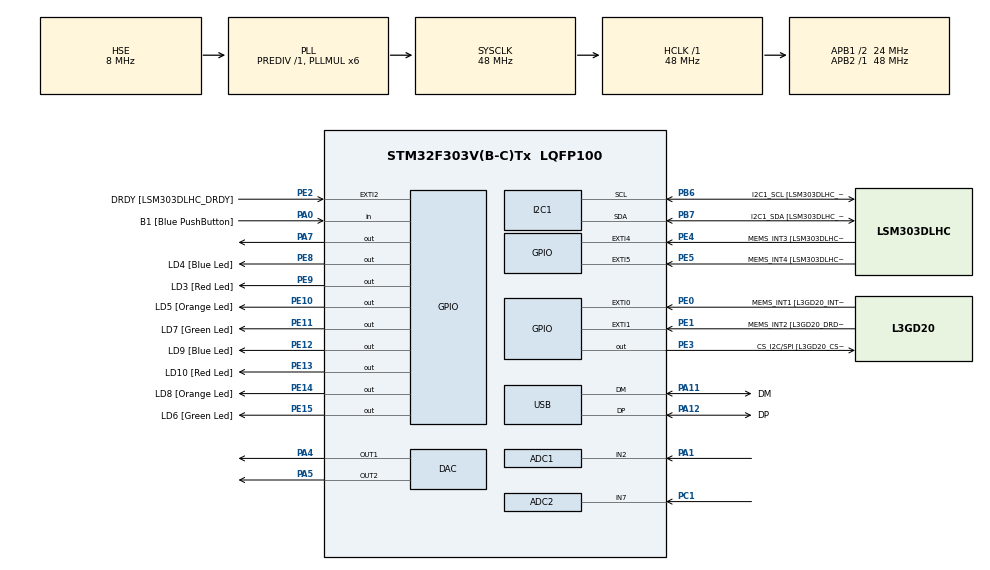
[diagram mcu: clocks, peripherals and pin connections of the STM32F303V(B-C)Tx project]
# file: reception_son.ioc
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ADC1.Channel-0\#ChannelRegularConversion=ADC_CHANNEL_2
ADC1.ClockPrescaler=ADC_CLOCK_ASYNC_DIV1
ADC1.ContinuousConvMode=ENABLE
ADC1.NbrOfConversionFlag=1
ADC1.Offset-0\#ChannelRegularConversion=0
ADC1.OffsetNumber-0\#ChannelRegularConversion=ADC_OFFSET_NONE
ADC1.Rank-0\#ChannelRegularConversion=1
ADC1.SamplingTime-0\#ChannelRegularConversion=ADC_SAMPLETIME_601CYCLES_5
ADC1.master=1
ADC2.Channel-0\#ChannelRegularConversion=ADC_CHANNEL_7
ADC2.ContinuousConvMode=DISABLE
ADC2.NbrOfConversionFlag=1
ADC2.Offset-0\#ChannelRegularConversion=0
ADC2.OffsetNumber-0\#ChannelRegularConversion=ADC_OFFSET_NONE
ADC2.Rank-0\#ChannelRegularConversion=1
ADC2.SamplingTime-0\#ChannelRegularConversion=ADC_SAMPLETIME_1CYCLE_5
Dma.Request0=TIM2_UP
Dma.TIM2_UP.0.Direction=DMA_PERIPH_TO_MEMORY
Dma.TIM2_UP.0.Instance=DMA1_Channel2
Dma.TIM2_UP.0.MemDataAlignment=DMA_MDATAALIGN_WORD
Dma.TIM2_UP.0.MemInc=DMA_MINC_ENABLE
Dma.TIM2_UP.0.Mode=DMA_NORMAL
Dma.TIM2_UP.0.PeriphDataAlignment=DMA_PDATAALIGN_WORD
Dma.TIM2_UP.0.PeriphInc=DMA_PINC_DISABLE
Dma.TIM2_UP.0.Priority=DMA_PRIORITY_LOW
I2C1.Timing-I2C=0x2000090E
Mcu.Family=STM32F3
Mcu.Name=STM32F303V(B-C)Tx
Mcu.Package=LQFP100
NVIC.ADC1_2_IRQn=true\:0\:0\:false\:false\:true\:true\:true
NVIC.DMA1_Channel2_IRQn=true\:0\:0\:false\:false\:true\:false\:true
NVIC.PriorityGroup=NVIC_PRIORITYGROUP_0
NVIC.TIM2_IRQn=true\:0\:0\:false\:false\:true\:true\:true
NVIC.TIM6_DAC_IRQn=true\:0\:0\:false\:false\:true\:true\:true
PA0.GPIO_Label=B1 [Blue PushButton]
PA0.Signal=GPIO_Input
PA1.Mode=IN2-Single-Ended
PA1.Signal=ADC1_IN2
PA11.GPIO_Label=DM
PA11.Mode=Device
PA11.Signal=USB_DM
PA12.GPIO_Label=DP
PA12.Mode=Device
PA12.Signal=USB_DP
PA13.GPIO_Label=SWDIO
PA13.Mode=Serial_Wire
PA13.Signal=SYS_JTMS-SWDIO
PA14.GPIO_Label=SWCLK
PA14.Mode=Serial_Wire
PA14.Signal=SYS_JTCK-SWCLK
PA4.Signal=COMP_DAC1_group
PA5.Signal=COMP_DAC2_group
PA7.Signal=GPIO_Output
PB3.GPIO_Label=SWO
PB3.Signal=SYS_JTDO-TRACESWO
PB6.GPIO_Label=I2C1_SCL [LSM303DLHC_SCL]
PB6.Mode=I2C
PB6.Signal=I2C1_SCL
PB7.GPIO_Label=I2C1_SDA [LSM303DLHC_SDA]
PB7.Mode=I2C
PB7.Signal=I2C1_SDA
PC1.Signal=ADCx_IN7
PC14-OSC32_IN.GPIO_Label=OSC32_IN
PC14-OSC32_IN.Signal=RCC_OSC32_IN
PC15-OSC32_OUT.GPIO_Label=OSC32_OUT
PC15-OSC32_OUT.Signal=RCC_OSC32_OUT
PE0.GPIO_Label=MEMS_INT1 [L3GD20_INT1]
PE0.GPIO_ModeDefaultEXTI=GPIO_MODE_EVT_RISING
PE0.Signal=GPXTI0
PE1.GPIO_Label=MEMS_INT2 [L3GD20_DRDY/INT2]
PE1.GPIO_ModeDefaultEXTI=GPIO_MODE_EVT_RISING
PE1.Signal=GPXTI1
PE10.GPIO_Label=LD5 [Orange Led]
PE10.Signal=GPIO_Output
PE11.GPIO_Label=LD7 [Green Led]
PE11.Signal=GPIO_Output
PE12.GPIO_Label=LD9 [Blue Led]
PE12.Signal=GPIO_Output
PE13.GPIO_Label=LD10 [Red Led]
PE13.Signal=GPIO_Output
PE14.GPIO_Label=LD8 [Orange Led]
PE14.Signal=GPIO_Output
PE15.GPIO_Label=LD6 [Green Led]
PE15.Signal=GPIO_Output
PE2.GPIO_Label=DRDY [LSM303DLHC_DRDY]
PE2.GPIO_ModeDefaultEXTI=GPIO_MODE_EVT_RISING
PE2.Signal=GPXTI2
PE3.GPIO_Label=CS_I2C/SPI [L3GD20_CS_I2C/SPI]
PE3.GPIO_ModeDefaultOutputPP=GPIO_MODE_OUTPUT_PP
PE3.PinState=GPIO_PIN_SET
PE3.Signal=GPIO_Output
PE4.GPIO_Label=MEMS_INT3 [LSM303DLHC_INT1]
PE4.GPIO_ModeDefaultEXTI=GPIO_MODE_EVT_RISING
PE4.Signal=GPXTI4
PE5.GPIO_Label=MEMS_INT4 [LSM303DLHC_INT2]
PE5.GPIO_ModeDefaultEXTI=GPIO_MODE_EVT_RISING
PE5.Signal=GPXTI5
PE8.GPIO_Label=LD4 [Blue Led]
PE8.Signal=GPIO_Output
PE9.GPIO_Label=LD3 [Red Led]
PE9.Signal=GPIO_Output
PF0-OSC_IN.GPIO_Label=OSC_IN
PF0-OSC_IN.Mode=HSE-External-Oscillator
PF0-OSC_IN.Signal=RCC_OSC_IN
PF1-OSC_OUT.GPIO_Label=OSC_OUT
PF1-OSC_OUT.Mode=HSE-External-Oscillator
PF1-OSC_OUT.Signal=RCC_OSC_OUT
ProjectManager.HeapSize=0x200
ProjectManager.StackSize=0x400
ProjectManager.TargetToolchain=MDK-ARM V5
RCC.AHBFreq_Value=48000000
RCC.APB1CLKDivider=RCC_HCLK_DIV2
RCC.APB1Freq_Value=24000000
RCC.APB1TimFreq_Value=48000000
RCC.APB2Freq_Value=48000000
RCC.APB2TimFreq_Value=48000000
RCC.CortexFreq_Value=48000000
RCC.HCLKFreq_Value=48000000
RCC.HSE_VALUE=8000000
RCC.HSI_VALUE=8000000
RCC.LSE_VALUE=32768
RCC.PLLMUL=RCC_PLL_MUL6
RCC.SYSCLKFreq_VALUE=48000000
RCC.SYSCLKSourceVirtual=RCC_SYSCLKSOURCE_PLLCLK
RCC.USBFreq_Value=48000000
SH.ADCx_IN7.0=ADC2_IN7,IN7-Single-Ended
SH.COMP_DAC1_group.0=DAC_OUT1,DAC_OUT1
SH.COMP_DAC2_group.0=DAC_OUT2,Enable_DAC_OUT2
TIM2.Period=3
TIM2.Prescaler=100
TIM2.TIM_MasterOutputTrigger=TIM_TRGO_UPDATE
VP_TIM2_VS_ClockSourceINT.Mode=Internal
board=STM32F3DISCOVERY

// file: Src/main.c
/* USER CODE BEGIN Header */
/**
  ******************************************************************************
  * @file           : main.c
  * @brief          : Main program body
  ******************************************************************************
  * @attention
  *
  * <h2><center>&copy; Copyright (c) 2019 STMicroelectronics.
  * All rights reserved.</center></h2>
  *
  * This software component is licensed by ST under BSD 3-Clause license,
  * the "License"; You may not use this file except in compliance with the
  * License. You may obtain a copy of the License at:
  *                        opensource.org/licenses/BSD-3-Clause
  *
  ******************************************************************************
  */
/* USER CODE END Header */

#include "main.h"

ADC_HandleTypeDef hadc1;
ADC_HandleTypeDef hadc2;

DAC_HandleTypeDef hdac;

I2C_HandleTypeDef hi2c1;

TIM_HandleTypeDef htim2;
DMA_HandleTypeDef hdma_tim2_up;

PCD_HandleTypeDef hpcd_USB_FS;

void SystemClock_Config(void);
static void MX_GPIO_Init(void);
static void MX_DMA_Init(void);
static void MX_ADC2_Init(void);
static void MX_DAC_Init(void);
static void MX_I2C1_Init(void);
static void MX_TIM2_Init(void);
static void MX_USB_PCD_Init(void);
static void MX_ADC1_Init(void);

/* USER CODE BEGIN 0 */
uint32_t adc1value;
uint32_t i;

uint32_t somme50 = 0;
uint32_t adc2value;
uint32_t seuil = 0x00F;
uint32_t Vdetect = 0xF000;

void HAL_ADC_ConvCpltCallback(ADC_HandleTypeDef* hadc1){

	if (hadc1->Instance == ADC1){
		adc1value = HAL_ADC_GetValue(hadc1);
	}
}

void HAL_TIM_PeriodElapsedCallback(TIM_HandleTypeDef* htim){

	HAL_ADC_Start(&hadc2);
	HAL_ADC_PollForConversion(&hadc2,10);
	adc2value = HAL_ADC_GetValue(&hadc2);

	if(i<100){
		if(adc2value<seuil){
			somme50 += seuil-adc2value;
		}
		else{
			somme50 += adc2value -seuil;
		}
		i++;
	}
	else{
		if (adc2value == 0x000){
			HAL_DAC_SetValue(&hdac,DAC_CHANNEL_1,DAC_ALIGN_12B_R,0x000);
		}
		else{
			if(somme50>Vdetect){
				HAL_DAC_SetValue(&hdac,DAC_CHANNEL_1,DAC_ALIGN_12B_R,0xFFF);
			}
			else{
				HAL_DAC_SetValue(&hdac,DAC_CHANNEL_1,DAC_ALIGN_12B_R,0x000);
			}
			HAL_DAC_Start(&hdac,DAC_CHANNEL_1);
			i=0;
			somme50 = 0;
		}

}
	}
/* USER CODE END 0 */

int main(void)
{

  /* MCU Configuration--------------------------------------------------------*/

  /* Reset of all peripherals, Initializes the Flash interface and the Systick. */
  HAL_Init();

  /* Configure the system clock */
  SystemClock_Config();

  /* Initialize all configured peripherals */
  MX_GPIO_Init();
  MX_DMA_Init();
  MX_ADC2_Init();
  MX_DAC_Init();
  MX_I2C1_Init();
  MX_TIM2_Init();
  MX_USB_PCD_Init();
  MX_ADC1_Init();
  /* USER CODE BEGIN 2 */

	HAL_ADC_Start_IT(&hadc1);
	HAL_TIM_Base_Start_IT(&htim2);

  /* USER CODE END 2 */

  /* Infinite loop */
  while (1)
  {

    /* USER CODE BEGIN 3 */

		HAL_DAC_Start	(&hdac, DAC_CHANNEL_2);
		HAL_DAC_SetValue (&hdac, DAC_CHANNEL_2, DAC_ALIGN_12B_R, adc1value);
	}
  /* USER CODE END 3 */
}
void SystemClock_Config(void)
{
  RCC_OscInitTypeDef RCC_OscInitStruct = {0};
  RCC_ClkInitTypeDef RCC_ClkInitStruct = {0};
  RCC_PeriphCLKInitTypeDef PeriphClkInit = {0};

  /** Initializes the CPU, AHB and APB busses clocks
  */
  RCC_OscInitStruct.OscillatorType = RCC_OSCILLATORTYPE_HSI|RCC_OSCILLATORTYPE_HSE;
  RCC_OscInitStruct.HSEState = RCC_HSE_ON;
  RCC_OscInitStruct.HSEPredivValue = RCC_HSE_PREDIV_DIV1;
  RCC_OscInitStruct.HSIState = RCC_HSI_ON;
  RCC_OscInitStruct.HSICalibrationValue = RCC_HSICALIBRATION_DEFAULT;
  RCC_OscInitStruct.PLL.PLLState = RCC_PLL_ON;
  RCC_OscInitStruct.PLL.PLLSource = RCC_PLLSOURCE_HSE;
  RCC_OscInitStruct.PLL.PLLMUL = RCC_PLL_MUL6;
  if (HAL_RCC_OscConfig(&RCC_OscInitStruct) != HAL_OK)
  {
    Error_Handler();
  }
  /** Initializes the CPU, AHB and APB busses clocks
  */
  RCC_ClkInitStruct.ClockType = RCC_CLOCKTYPE_HCLK|RCC_CLOCKTYPE_SYSCLK
                              |RCC_CLOCKTYPE_PCLK1|RCC_CLOCKTYPE_PCLK2;
  RCC_ClkInitStruct.SYSCLKSource = RCC_SYSCLKSOURCE_PLLCLK;
  RCC_ClkInitStruct.AHBCLKDivider = RCC_SYSCLK_DIV1;
  RCC_ClkInitStruct.APB1CLKDivider = RCC_HCLK_DIV2;
  RCC_ClkInitStruct.APB2CLKDivider = RCC_HCLK_DIV1;

  if (HAL_RCC_ClockConfig(&RCC_ClkInitStruct, FLASH_LATENCY_1) != HAL_OK)
  {
    Error_Handler();
  }
  PeriphClkInit.PeriphClockSelection = RCC_PERIPHCLK_USB|RCC_PERIPHCLK_I2C1
                              |RCC_PERIPHCLK_ADC12;
  PeriphClkInit.Adc12ClockSelection = RCC_ADC12PLLCLK_DIV1;
  PeriphClkInit.I2c1ClockSelection = RCC_I2C1CLKSOURCE_HSI;
  PeriphClkInit.USBClockSelection = RCC_USBCLKSOURCE_PLL;
  if (HAL_RCCEx_PeriphCLKConfig(&PeriphClkInit) != HAL_OK)
  {
    Error_Handler();
  }
}

static void MX_ADC1_Init(void)
{

  ADC_MultiModeTypeDef multimode = {0};
  ADC_ChannelConfTypeDef sConfig = {0};

  /** Common config
  */
  hadc1.Instance = ADC1;
  hadc1.Init.ClockPrescaler = ADC_CLOCK_ASYNC_DIV1;
  hadc1.Init.Resolution = ADC_RESOLUTION_12B;
  hadc1.Init.ScanConvMode = ADC_SCAN_DISABLE;
  hadc1.Init.ContinuousConvMode = ENABLE;
  hadc1.Init.DiscontinuousConvMode = DISABLE;
  hadc1.Init.ExternalTrigConvEdge = ADC_EXTERNALTRIGCONVEDGE_NONE;
  hadc1.Init.ExternalTrigConv = ADC_SOFTWARE_START;
  hadc1.Init.DataAlign = ADC_DATAALIGN_RIGHT;
  hadc1.Init.NbrOfConversion = 1;
  hadc1.Init.DMAContinuousRequests = DISABLE;
  hadc1.Init.EOCSelection = ADC_EOC_SINGLE_CONV;
  hadc1.Init.LowPowerAutoWait = DISABLE;
  hadc1.Init.Overrun = ADC_OVR_DATA_OVERWRITTEN;
  if (HAL_ADC_Init(&hadc1) != HAL_OK)
  {
    Error_Handler();
  }
  /** Configure the ADC multi-mode
  */
  multimode.Mode = ADC_MODE_INDEPENDENT;
  if (HAL_ADCEx_MultiModeConfigChannel(&hadc1, &multimode) != HAL_OK)
  {
    Error_Handler();
  }
  /** Configure Regular Channel
  */
  sConfig.Channel = ADC_CHANNEL_2;
  sConfig.Rank = ADC_REGULAR_RANK_1;
  sConfig.SingleDiff = ADC_SINGLE_ENDED;
  sConfig.SamplingTime = ADC_SAMPLETIME_601CYCLES_5;
  sConfig.OffsetNumber = ADC_OFFSET_NONE;
  sConfig.Offset = 0;
  if (HAL_ADC_ConfigChannel(&hadc1, &sConfig) != HAL_OK)
  {
    Error_Handler();
  }

}

static void MX_ADC2_Init(void)
{

  ADC_ChannelConfTypeDef sConfig = {0};

  /** Common config
  */
  hadc2.Instance = ADC2;
  hadc2.Init.ClockPrescaler = ADC_CLOCK_ASYNC_DIV1;
  hadc2.Init.Resolution = ADC_RESOLUTION_12B;
  hadc2.Init.ScanConvMode = ADC_SCAN_DISABLE;
  hadc2.Init.ContinuousConvMode = ENABLE;
  hadc2.Init.DiscontinuousConvMode = DISABLE;
  hadc2.Init.ExternalTrigConvEdge = ADC_EXTERNALTRIGCONVEDGE_NONE;
  hadc2.Init.ExternalTrigConv = ADC_SOFTWARE_START;
  hadc2.Init.DataAlign = ADC_DATAALIGN_RIGHT;
  hadc2.Init.NbrOfConversion = 1;
  hadc2.Init.DMAContinuousRequests = DISABLE;
  hadc2.Init.EOCSelection = ADC_EOC_SINGLE_CONV;
  hadc2.Init.LowPowerAutoWait = DISABLE;
  hadc2.Init.Overrun = ADC_OVR_DATA_OVERWRITTEN;
  if (HAL_ADC_Init(&hadc2) != HAL_OK)
  {
    Error_Handler();
  }
  /** Configure Regular Channel
  */
  sConfig.Channel = ADC_CHANNEL_7;
  sConfig.Rank = ADC_REGULAR_RANK_1;
  sConfig.SingleDiff = ADC_SINGLE_ENDED;
  sConfig.SamplingTime = ADC_SAMPLETIME_1CYCLE_5;
  sConfig.OffsetNumber = ADC_OFFSET_NONE;
  sConfig.Offset = 0;
  if (HAL_ADC_ConfigChannel(&hadc2, &sConfig) != HAL_OK)
  {
    Error_Handler();
  }

}

static void MX_DAC_Init(void)
{

  DAC_ChannelConfTypeDef sConfig = {0};

  /** DAC Initialization
  */
  hdac.Instance = DAC;
  if (HAL_DAC_Init(&hdac) != HAL_OK)
  {
    Error_Handler();
  }
  /** DAC channel OUT1 config
  */
  sConfig.DAC_Trigger = DAC_TRIGGER_NONE;
  sConfig.DAC_OutputBuffer = DAC_OUTPUTBUFFER_ENABLE;
  if (HAL_DAC_ConfigChannel(&hdac, &sConfig, DAC_CHANNEL_1) != HAL_OK)
  {
    Error_Handler();
  }
  /** DAC channel OUT2 config
  */
  if (HAL_DAC_ConfigChannel(&hdac, &sConfig, DAC_CHANNEL_2) != HAL_OK)
  {
    Error_Handler();
  }

}

static void MX_I2C1_Init(void)
{

  hi2c1.Instance = I2C1;
  hi2c1.Init.Timing = 0x2000090E;
  hi2c1.Init.OwnAddress1 = 0;
  hi2c1.Init.AddressingMode = I2C_ADDRESSINGMODE_7BIT;
  hi2c1.Init.DualAddressMode = I2C_DUALADDRESS_DISABLE;
  hi2c1.Init.OwnAddress2 = 0;
  hi2c1.Init.OwnAddress2Masks = I2C_OA2_NOMASK;
  hi2c1.Init.GeneralCallMode = I2C_GENERALCALL_DISABLE;
  hi2c1.Init.NoStretchMode = I2C_NOSTRETCH_DISABLE;
  if (HAL_I2C_Init(&hi2c1) != HAL_OK)
  {
    Error_Handler();
  }
  /** Configure Analogue filter
  */
  if (HAL_I2CEx_ConfigAnalogFilter(&hi2c1, I2C_ANALOGFILTER_ENABLE) != HAL_OK)
  {
    Error_Handler();
  }
  /** Configure Digital filter
  */
  if (HAL_I2CEx_ConfigDigitalFilter(&hi2c1, 0) != HAL_OK)
  {
    Error_Handler();
  }

}

static void MX_TIM2_Init(void)
{

  TIM_ClockConfigTypeDef sClockSourceConfig = {0};
  TIM_MasterConfigTypeDef sMasterConfig = {0};
  TIM_IC_InitTypeDef sConfigIC = {0};

  htim2.Instance = TIM2;
  htim2.Init.Prescaler = 0;
  htim2.Init.CounterMode = TIM_COUNTERMODE_UP;
  htim2.Init.Period = 12000;
  htim2.Init.ClockDivision = TIM_CLOCKDIVISION_DIV1;
  htim2.Init.AutoReloadPreload = TIM_AUTORELOAD_PRELOAD_DISABLE;
  if (HAL_TIM_Base_Init(&htim2) != HAL_OK)
  {
    Error_Handler();
  }
  sClockSourceConfig.ClockSource = TIM_CLOCKSOURCE_INTERNAL;
  if (HAL_TIM_ConfigClockSource(&htim2, &sClockSourceConfig) != HAL_OK)
  {
    Error_Handler();
  }
  if (HAL_TIM_IC_Init(&htim2) != HAL_OK)
  {
    Error_Handler();
  }
  sMasterConfig.MasterOutputTrigger = TIM_TRGO_RESET;
  sMasterConfig.MasterSlaveMode = TIM_MASTERSLAVEMODE_DISABLE;
  if (HAL_TIMEx_MasterConfigSynchronization(&htim2, &sMasterConfig) != HAL_OK)
  {
    Error_Handler();
  }
  sConfigIC.ICPolarity = TIM_INPUTCHANNELPOLARITY_RISING;
  sConfigIC.ICSelection = TIM_ICSELECTION_DIRECTTI;
  sConfigIC.ICPrescaler = TIM_ICPSC_DIV1;
  sConfigIC.ICFilter = 0;
  if (HAL_TIM_IC_ConfigChannel(&htim2, &sConfigIC, TIM_CHANNEL_1) != HAL_OK)
  {
    Error_Handler();
  }

}

static void MX_USB_PCD_Init(void)
{

  hpcd_USB_FS.Instance = USB;
  hpcd_USB_FS.Init.dev_endpoints = 8;
  hpcd_USB_FS.Init.speed = PCD_SPEED_FULL;
  hpcd_USB_FS.Init.phy_itface = PCD_PHY_EMBEDDED;
  hpcd_USB_FS.Init.low_power_enable = DISABLE;
  hpcd_USB_FS.Init.battery_charging_enable = DISABLE;
  if (HAL_PCD_Init(&hpcd_USB_FS) != HAL_OK)
  {
    Error_Handler();
  }

}

static void MX_DMA_Init(void)
{
  /* DMA controller clock enable */
  __HAL_RCC_DMA1_CLK_ENABLE();

  /* DMA interrupt init */
  /* DMA1_Channel2_IRQn interrupt configuration */
  HAL_NVIC_SetPriority(DMA1_Channel2_IRQn, 0, 0);
  HAL_NVIC_EnableIRQ(DMA1_Channel2_IRQn);

}

static void MX_GPIO_Init(void)
{
  GPIO_InitTypeDef GPIO_InitStruct = {0};

  /* GPIO Ports Clock Enable */
  __HAL_RCC_GPIOE_CLK_ENABLE();
  __HAL_RCC_GPIOC_CLK_ENABLE();
  __HAL_RCC_GPIOF_CLK_ENABLE();
  __HAL_RCC_GPIOA_CLK_ENABLE();
  __HAL_RCC_GPIOB_CLK_ENABLE();

  /*Configure GPIO pin Output Level */
  HAL_GPIO_WritePin(CS_I2C_SPI_GPIO_Port, CS_I2C_SPI_Pin, GPIO_PIN_SET);

  /*Configure GPIO pin Output Level */
  HAL_GPIO_WritePin(GPIOA, GPIO_PIN_7, GPIO_PIN_RESET);

  /*Configure GPIO pin Output Level */
  HAL_GPIO_WritePin(GPIOE, LD4_Pin|LD3_Pin|LD5_Pin|LD7_Pin
                          |LD9_Pin|LD10_Pin|LD8_Pin|LD6_Pin, GPIO_PIN_RESET);

  /*Configure GPIO pins : DRDY_Pin MEMS_INT3_Pin MEMS_INT4_Pin MEMS_INT1_Pin
                           MEMS_INT2_Pin */
  GPIO_InitStruct.Pin = DRDY_Pin|MEMS_INT3_Pin|MEMS_INT4_Pin|MEMS_INT1_Pin
                          |MEMS_INT2_Pin;
  GPIO_InitStruct.Mode = GPIO_MODE_EVT_RISING;
  GPIO_InitStruct.Pull = GPIO_NOPULL;
  HAL_GPIO_Init(GPIOE, &GPIO_InitStruct);

  /*Configure GPIO pins : CS_I2C_SPI_Pin LD4_Pin LD3_Pin LD5_Pin
                           LD7_Pin LD9_Pin LD10_Pin LD8_Pin
                           LD6_Pin */
  GPIO_InitStruct.Pin = CS_I2C_SPI_Pin|LD4_Pin|LD3_Pin|LD5_Pin
                          |LD7_Pin|LD9_Pin|LD10_Pin|LD8_Pin
                          |LD6_Pin;
  GPIO_InitStruct.Mode = GPIO_MODE_OUTPUT_PP;
  GPIO_InitStruct.Pull = GPIO_NOPULL;
  GPIO_InitStruct.Speed = GPIO_SPEED_FREQ_LOW;
  HAL_GPIO_Init(GPIOE, &GPIO_InitStruct);

  /*Configure GPIO pin : B1_Pin */
  GPIO_InitStruct.Pin = B1_Pin;
  GPIO_InitStruct.Mode = GPIO_MODE_INPUT;
  GPIO_InitStruct.Pull = GPIO_NOPULL;
  HAL_GPIO_Init(B1_GPIO_Port, &GPIO_InitStruct);

  /*Configure GPIO pin : PA7 */
  GPIO_InitStruct.Pin = GPIO_PIN_7;
  GPIO_InitStruct.Mode = GPIO_MODE_OUTPUT_PP;
  GPIO_InitStruct.Pull = GPIO_NOPULL;
  GPIO_InitStruct.Speed = GPIO_SPEED_FREQ_LOW;
  HAL_GPIO_Init(GPIOA, &GPIO_InitStruct);

}

void Error_Handler(void)
{
}

/************************ (C) COPYRIGHT STMicroelectronics *****END OF FILE****/
